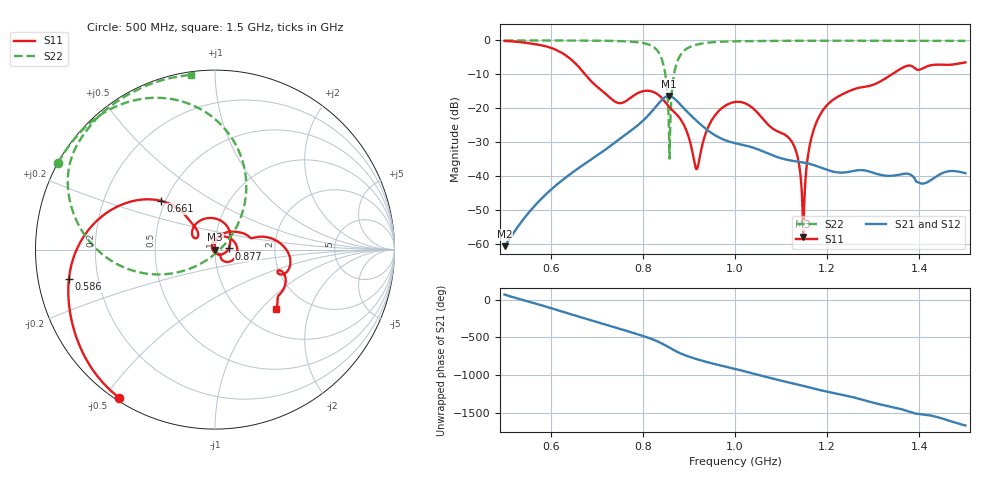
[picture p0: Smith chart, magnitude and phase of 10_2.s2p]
! TOUCHSTONE file generated by CST MICROWAVE STUDIO
! Date and time: Fri Oct  2 16:31:46 2020
! Project name: Scenario_1_Free_Space_out_of_line.cst
! Parameters = {Lambda=346.42; Step_1=17.321; dy1=191.571; dx1=346; L_HA=400; MT=2.54; Rad_Dielectric=30; Rad_Lower=7.3; Rad_Upper=30; a_HA=580; a_WG=246; b_HA=500; b_WG=121; c_HA=0; c_WG=187; d_feed=85; h_feed=15; h_lower=18; h_upper=40}
! Header version: 2018
! Port assignment regex: !\s*Touchstone port\s*([0-9]+)\s*=\s*(CST MWS port|CST DS port)\s*([0-9]+|Zmin|Zmax)\s*\(\"(.*)\"\)(\s*mode\s*([0-9]+))?.*
! Touchstone port assignment:
! Touchstone port 1 = CST MWS port 1 ("")
! Touchstone port 2 = CST MWS port 2 ("")
# GHz S DB R 50
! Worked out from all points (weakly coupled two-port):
!   1003 points, 500 MHz to 1.5 GHz, reference 50 ohm
!   highest |S21| = -16.35 dB at 856 MHz (marker M1); lowest = -60.6 dB at 500 MHz (marker M2)
!   lowest |S11| = -57.8 dB at 1.148 GHz (marker M3), VSWR 1.00, Z = 50.1 - j0.00835 ohm
!   |S11| at or under -10 dB: 674.8 MHz to 1.34 GHz (665.3 MHz wide, 66 % of centre)
!   |S22| runs from -34.8 to 0.0 dB; largest |S21 - S12| = 1.7e-05
!   S11 on the Smith chart (normalised r, x): 500 MHz: 0.01, -0.55; 586 MHz: 0.09, -0.10; 661 MHz: 0.47, +0.31; 877 MHz: 1.16, +0.01; 1.5 GHz: 1.43, -1.22
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0.5  -0.15 -122.8  -60.58 66.2  -60.58 66.2  -0.01 151.1
0.586  -1.62 -168.7  -45.78 -86.5  -45.78 -86.5  -0.02 145.1
0.661  -7.82 138.0  -37.54 134.0  -37.54 134.0  -0.04 138.9
0.667  -8.74 135.1  -36.98 123.0  -36.98 123.0  -0.04 138.3
0.745  -18.36 141.3  -29.48 -16.8  -29.48 -16.8  -0.18 128.2
0.798  -15.03 128.4  -23.91 -117.5  -23.91 -117.5  -0.70 113.8
0.834  -16.06 71.9  -18.57 160.8  -18.57 160.8  -3.46 85.0
0.847  -17.90 49.6  -16.81 120.4  -16.81 120.4  -8.58 62.1
0.856  -19.42 36.8  -16.35 88.7  -16.35 88.7  -22.97 31.3
0.861  -20.16 30.3  -16.49 71.0  -16.49 71.0  -19.29 -135.0
0.867  -20.94 21.8  -16.97 50.7  -16.97 50.7  -10.52 -152.8
0.877  -22.34 4.7  -18.25 20.6  -18.25 20.6  -5.47 -170.2
0.917  -37.89 -152.7  -23.72 -68.5  -23.72 -68.5  -1.23 159.7
0.95  -23.38 77.2  -27.35 -123.9  -27.35 -123.9  -0.54 149.3
1  -18.12 2.3  -30.25 162.9  -30.25 162.9  -0.26 140.2
1.122  -29.55 -52.3  -35.37 -22.8  -35.37 -22.8  -0.11 127.8
1.136  -34.38 -59.1  -35.67 -43.3  -35.67 -43.3  -0.10 126.6
1.148  -57.78 -3.7  -35.94 -61.5  -35.94 -61.5  -0.10 125.7
1.167  -28.07 87.8  -36.54 -91.1  -36.54 -91.1  -0.10 124.2
1.211  -17.67 49.7  -38.56 -153.2  -38.56 -153.2  -0.09 120.7
1.334  -10.54 13.5  -39.88 28.1  -39.88 28.1  -0.08 111.4
1.5  -6.47 -44.0  -39.08 134.3  -39.08 134.3  -0.14 97.9
